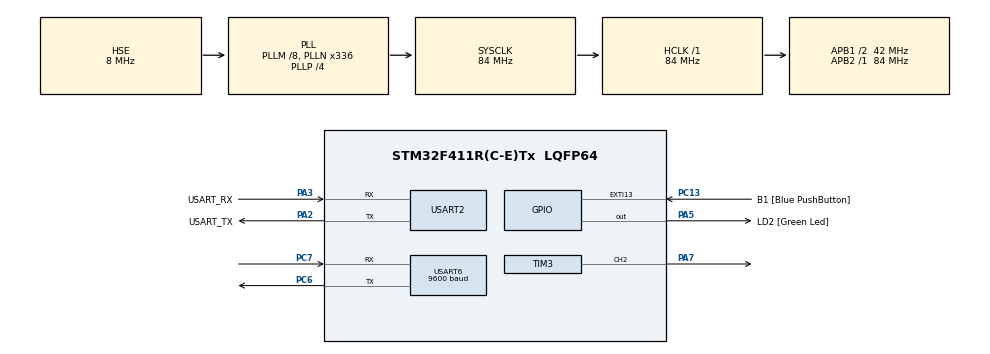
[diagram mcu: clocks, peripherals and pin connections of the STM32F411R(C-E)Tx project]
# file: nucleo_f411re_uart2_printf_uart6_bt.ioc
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Mcu.Family=STM32F4
Mcu.Name=STM32F411R(C-E)Tx
Mcu.Package=LQFP64
NVIC.PriorityGroup=NVIC_PRIORITYGROUP_0
NVIC.TIM3_IRQn=true\:0\:0\:false\:false\:true\:true\:true\:true
NVIC.USART2_IRQn=true\:0\:0\:false\:false\:true\:true\:true\:true
NVIC.USART6_IRQn=true\:0\:0\:false\:false\:true\:true\:true\:true
PA13.GPIO_Label=TMS
PA13.Mode=Serial_Wire
PA13.Signal=SYS_JTMS-SWDIO
PA14.GPIO_Label=TCK
PA14.Mode=Serial_Wire
PA14.Signal=SYS_JTCK-SWCLK
PA2.GPIO_Label=USART_TX
PA2.Mode=Asynchronous
PA2.Signal=USART2_TX
PA3.GPIO_Label=USART_RX
PA3.Mode=Asynchronous
PA3.Signal=USART2_RX
PA5.GPIO_Label=LD2 [Green Led]
PA5.Signal=GPIO_Output
PA7.Signal=S_TIM3_CH2
PB3.GPIO_Label=SWO
PB3.Signal=SYS_JTDO-SWO
PC13-ANTI_TAMP.GPIO_Label=B1 [Blue PushButton]
PC13-ANTI_TAMP.GPIO_ModeDefaultEXTI=GPIO_MODE_IT_FALLING
PC13-ANTI_TAMP.Signal=GPXTI13
PC14-OSC32_IN.Mode=LSE-External-Oscillator
PC14-OSC32_IN.Signal=RCC_OSC32_IN
PC15-OSC32_OUT.Mode=LSE-External-Oscillator
PC15-OSC32_OUT.Signal=RCC_OSC32_OUT
PC6.Mode=Asynchronous
PC6.Signal=USART6_TX
PC7.Mode=Asynchronous
PC7.Signal=USART6_RX
PH0\ -\ OSC_IN.Mode=HSE-External-Clock-Source
PH0\ -\ OSC_IN.Signal=RCC_OSC_IN
PH1\ -\ OSC_OUT.Mode=HSE-External-Clock-Source
PH1\ -\ OSC_OUT.Signal=RCC_OSC_OUT
ProjectManager.HeapSize=0x200
ProjectManager.StackSize=0x400
ProjectManager.TargetToolchain=STM32CubeIDE
RCC.48MHZClocksFreq_Value=84000000
RCC.AHBFreq_Value=84000000
RCC.APB1CLKDivider=RCC_HCLK_DIV2
RCC.APB1Freq_Value=42000000
RCC.APB1TimFreq_Value=84000000
RCC.APB2Freq_Value=84000000
RCC.APB2TimFreq_Value=84000000
RCC.CortexFreq_Value=84000000
RCC.FLatency-AdvancedSettings=FLASH_LATENCY_2
RCC.HCLKFreq_Value=84000000
RCC.HSE_VALUE=8000000
RCC.HSI_VALUE=16000000
RCC.PLLM=8
RCC.PLLN=336
RCC.PLLP=RCC_PLLP_DIV4
RCC.PLLSourceVirtual=RCC_PLLSOURCE_HSE
RCC.SYSCLKFreq_VALUE=84000000
RCC.SYSCLKSource=RCC_SYSCLKSOURCE_PLLCLK
RCC.VCOOutputFreq_Value=336000000
SH.S_TIM3_CH2.0=TIM3_CH2,PWM Generation2 CH2
TIM3.AutoReloadPreload=TIM_AUTORELOAD_PRELOAD_ENABLE
TIM3.Channel-PWM\ Generation2\ CH2=TIM_CHANNEL_2
TIM3.Period=1000-1
TIM3.Prescaler=84-1
TIM3.Pulse-PWM\ Generation2\ CH2=800-1
USART2.VirtualMode=VM_ASYNC
USART6.BaudRate=9600
USART6.VirtualMode=VM_ASYNC
VP_TIM3_VS_ClockSourceINT.Mode=Internal
board=NUCLEO-F411RE

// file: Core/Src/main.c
/* USER CODE BEGIN Header */
/**
  ******************************************************************************
  * @file           : main.c
  * @brief          : Main program body
  ******************************************************************************
  * @attention
  *
  * Copyright (c) 2024 STMicroelectronics.
  * All rights reserved.
  *
  * This software is licensed under terms that can be found in the LICENSE file
  * in the root directory of this software component.
  * If no LICENSE file comes with this software, it is provided AS-IS.
  *
  ******************************************************************************
  */
/* USER CODE END Header */
#include "main.h"

/* USER CODE BEGIN Includes */
#include <stdio.h>
#include <string.h>
#include <stdlib.h>
#include <errno.h>
/* USER CODE END Includes */

/* USER CODE BEGIN PD */
#ifdef __GNUC__
/* With GCC, small printf (option LD Linker->Libraries->Small printf
   set to 'Yes') calls __io_putchar() */
#define PUTCHAR_PROTOTYPE int __io_putchar(int ch)
#else
#define PUTCHAR_PROTOTYPE int fputc(int ch, FILE *f)
#endif /* __GNUC__ */
#define ARR_CNT 5
#define CMD_SIZE 50

/* USER CODE END PD */

TIM_HandleTypeDef htim3;

UART_HandleTypeDef huart2;
UART_HandleTypeDef huart6;

/* USER CODE BEGIN PV */
uint8_t rx2char;
volatile unsigned char rx2Flag = 0;
volatile char rx2Data[50];
volatile unsigned char btFlag = 0;
uint8_t btchar;
char btData[50];
void bluetooth_Event();

// temp, cdsValue
int temp = 0;     // ?��?��
int cdsValue = 0; // 조도

/* USER CODE END PV */

void SystemClock_Config(void);
static void MX_GPIO_Init(void);
static void MX_USART2_UART_Init(void);
static void MX_USART6_UART_Init(void);
static void MX_TIM3_Init(void);

int main(void)
{

  /* MCU Configuration--------------------------------------------------------*/

  /* Reset of all peripherals, Initializes the Flash interface and the Systick. */
  HAL_Init();

  /* Configure the system clock */
  SystemClock_Config();

  /* Initialize all configured peripherals */
  MX_GPIO_Init();
  MX_USART2_UART_Init();
  MX_USART6_UART_Init();
  MX_TIM3_Init();
  /* USER CODE BEGIN 2 */
  HAL_UART_Receive_IT(&huart2, &rx2char,1);
  HAL_UART_Receive_IT(&huart6, &btchar,1);

  HAL_TIM_PWM_Start(&htim3, TIM_CHANNEL_2);
//  printf("start main2()\r\n");
  __HAL_TIM_SET_COMPARE(&htim3, TIM_CHANNEL_2, 500);
  HAL_Delay(1000);
//  __HAL_TIM_SET_COMPARE(&htim3, TIM_CHANNEL_2, 50);
//  HAL_Delay(1000);

  // servo motor control
  //static uint8_t servoMoved = 0; // ?���?????????? 모터�?????????? ?�� 번만 ??직이?���?????????? ?��?�� �???????????��

  //  char buf[10] = "Hello\r";
  /* USER CODE END 2 */

  /* Infinite loop */
  /* USER CODE BEGIN WHILE */
  while (1)
  {
  	  if(rx2Flag)
  	  {
  			printf("recv2 : %s\r\n",rx2Data);
  			rx2Flag =0;
  	//	    HAL_UART_Transmit(&huart6, (uint8_t *)buf, strlen(buf), 0xFFFF);
  	  }
  	  if(btFlag)
  	  {
  //		printf("bt : %s\r\n",btData);
  			btFlag =0;
  			bluetooth_Event();
  	  }
  //	  HAL_GPIO_TogglePin(GPIOC, GPIO_PIN_13);
  //	  HAL_Delay(500);

  	  // ?��?��, 조도 �?????????? ?��?�� �?????????? ?���?????????? 모터 ?��?��
//  	  check_and_move_servo(temp, cdsValue);
  }
    /* USER CODE END WHILE */

}

void SystemClock_Config(void)
{
  RCC_OscInitTypeDef RCC_OscInitStruct = {0};
  RCC_ClkInitTypeDef RCC_ClkInitStruct = {0};

  /** Configure the main internal regulator output voltage
  */
  __HAL_RCC_PWR_CLK_ENABLE();
  __HAL_PWR_VOLTAGESCALING_CONFIG(PWR_REGULATOR_VOLTAGE_SCALE1);

  /** Initializes the RCC Oscillators according to the specified parameters
  * in the RCC_OscInitTypeDef structure.
  */
  RCC_OscInitStruct.OscillatorType = RCC_OSCILLATORTYPE_HSE;
  RCC_OscInitStruct.HSEState = RCC_HSE_BYPASS;
  RCC_OscInitStruct.PLL.PLLState = RCC_PLL_ON;
  RCC_OscInitStruct.PLL.PLLSource = RCC_PLLSOURCE_HSE;
  RCC_OscInitStruct.PLL.PLLM = 8;
  RCC_OscInitStruct.PLL.PLLN = 336;
  RCC_OscInitStruct.PLL.PLLP = RCC_PLLP_DIV4;
  RCC_OscInitStruct.PLL.PLLQ = 4;
  if (HAL_RCC_OscConfig(&RCC_OscInitStruct) != HAL_OK)
  {
    Error_Handler();
  }

  /** Initializes the CPU, AHB and APB buses clocks
  */
  RCC_ClkInitStruct.ClockType = RCC_CLOCKTYPE_HCLK|RCC_CLOCKTYPE_SYSCLK
                              |RCC_CLOCKTYPE_PCLK1|RCC_CLOCKTYPE_PCLK2;
  RCC_ClkInitStruct.SYSCLKSource = RCC_SYSCLKSOURCE_PLLCLK;
  RCC_ClkInitStruct.AHBCLKDivider = RCC_SYSCLK_DIV1;
  RCC_ClkInitStruct.APB1CLKDivider = RCC_HCLK_DIV2;
  RCC_ClkInitStruct.APB2CLKDivider = RCC_HCLK_DIV1;

  if (HAL_RCC_ClockConfig(&RCC_ClkInitStruct, FLASH_LATENCY_2) != HAL_OK)
  {
    Error_Handler();
  }
}

static void MX_TIM3_Init(void)
{

  TIM_ClockConfigTypeDef sClockSourceConfig = {0};
  TIM_MasterConfigTypeDef sMasterConfig = {0};
  TIM_OC_InitTypeDef sConfigOC = {0};

  htim3.Instance = TIM3;
  htim3.Init.Prescaler = 84-1;
  htim3.Init.CounterMode = TIM_COUNTERMODE_UP;
  htim3.Init.Period = 1000-1;
  htim3.Init.ClockDivision = TIM_CLOCKDIVISION_DIV1;
  htim3.Init.AutoReloadPreload = TIM_AUTORELOAD_PRELOAD_ENABLE;
  if (HAL_TIM_Base_Init(&htim3) != HAL_OK)
  {
    Error_Handler();
  }
  sClockSourceConfig.ClockSource = TIM_CLOCKSOURCE_INTERNAL;
  if (HAL_TIM_ConfigClockSource(&htim3, &sClockSourceConfig) != HAL_OK)
  {
    Error_Handler();
  }
  if (HAL_TIM_PWM_Init(&htim3) != HAL_OK)
  {
    Error_Handler();
  }
  sMasterConfig.MasterOutputTrigger = TIM_TRGO_RESET;
  sMasterConfig.MasterSlaveMode = TIM_MASTERSLAVEMODE_DISABLE;
  if (HAL_TIMEx_MasterConfigSynchronization(&htim3, &sMasterConfig) != HAL_OK)
  {
    Error_Handler();
  }
  sConfigOC.OCMode = TIM_OCMODE_PWM1;
  sConfigOC.Pulse = 800-1;
  sConfigOC.OCPolarity = TIM_OCPOLARITY_HIGH;
  sConfigOC.OCFastMode = TIM_OCFAST_DISABLE;
  if (HAL_TIM_PWM_ConfigChannel(&htim3, &sConfigOC, TIM_CHANNEL_2) != HAL_OK)
  {
    Error_Handler();
  }
  HAL_TIM_MspPostInit(&htim3);

}

static void MX_USART2_UART_Init(void)
{

  huart2.Instance = USART2;
  huart2.Init.BaudRate = 115200;
  huart2.Init.WordLength = UART_WORDLENGTH_8B;
  huart2.Init.StopBits = UART_STOPBITS_1;
  huart2.Init.Parity = UART_PARITY_NONE;
  huart2.Init.Mode = UART_MODE_TX_RX;
  huart2.Init.HwFlowCtl = UART_HWCONTROL_NONE;
  huart2.Init.OverSampling = UART_OVERSAMPLING_16;
  if (HAL_UART_Init(&huart2) != HAL_OK)
  {
    Error_Handler();
  }

}

static void MX_USART6_UART_Init(void)
{

  huart6.Instance = USART6;
  huart6.Init.BaudRate = 9600;
  huart6.Init.WordLength = UART_WORDLENGTH_8B;
  huart6.Init.StopBits = UART_STOPBITS_1;
  huart6.Init.Parity = UART_PARITY_NONE;
  huart6.Init.Mode = UART_MODE_TX_RX;
  huart6.Init.HwFlowCtl = UART_HWCONTROL_NONE;
  huart6.Init.OverSampling = UART_OVERSAMPLING_16;
  if (HAL_UART_Init(&huart6) != HAL_OK)
  {
    Error_Handler();
  }

}

static void MX_GPIO_Init(void)
{
  GPIO_InitTypeDef GPIO_InitStruct = {0};

  /* GPIO Ports Clock Enable */
  __HAL_RCC_GPIOC_CLK_ENABLE();
  __HAL_RCC_GPIOH_CLK_ENABLE();
  __HAL_RCC_GPIOA_CLK_ENABLE();
  __HAL_RCC_GPIOB_CLK_ENABLE();

  /*Configure GPIO pin Output Level */
  HAL_GPIO_WritePin(LD2_GPIO_Port, LD2_Pin, GPIO_PIN_RESET);

  /*Configure GPIO pin : B1_Pin */
  GPIO_InitStruct.Pin = B1_Pin;
  GPIO_InitStruct.Mode = GPIO_MODE_IT_FALLING;
  GPIO_InitStruct.Pull = GPIO_NOPULL;
  HAL_GPIO_Init(B1_GPIO_Port, &GPIO_InitStruct);

  /*Configure GPIO pin : LD2_Pin */
  GPIO_InitStruct.Pin = LD2_Pin;
  GPIO_InitStruct.Mode = GPIO_MODE_OUTPUT_PP;
  GPIO_InitStruct.Pull = GPIO_NOPULL;
  GPIO_InitStruct.Speed = GPIO_SPEED_FREQ_LOW;
  HAL_GPIO_Init(LD2_GPIO_Port, &GPIO_InitStruct);

}

/* USER CODE BEGIN 4 */
void MX_GPIO_LED_ON(uint16_t pin)
{
	HAL_GPIO_WritePin(LD2_GPIO_Port, pin, GPIO_PIN_SET);
}
void MX_GPIO_LED_OFF(uint16_t pin)
{
	HAL_GPIO_WritePin(LD2_GPIO_Port, pin, GPIO_PIN_RESET);
}

void bluetooth_Event()
{
  int i=0;
  char * pToken;
  char * pArray[ARR_CNT]={0};
  char recvBuf[CMD_SIZE]={0};
  char sendBuf[CMD_SIZE]={0};
  strcpy(recvBuf,btData);

  printf("btData : %s\r\n",btData);

  pToken = strtok(recvBuf,"[@]");
  while(pToken != NULL)
  {
    pArray[i] = pToken;
    if(++i >= ARR_CNT)
      break;
    pToken = strtok(NULL,"[@]");
  }

//  printf("pArray[0] : %s\r\n",pArray[0]);
//  printf("pArray[1] : %s\r\n",pArray[1]);
//  printf("pArray[2] : %s\r\n",pArray[2]);

  if(!strcmp(pArray[1],"LED"))
  {
		if(!strcmp(pArray[2],"ON"))
		{
			MX_GPIO_LED_ON(LD2_Pin);
		}
		else if(!strcmp(pArray[2],"OFF"))
		{
			MX_GPIO_LED_OFF(LD2_Pin);
		}
  }
  else if(!strcmp(pArray[1],"SENSOR"))
  {
	  	cdsValue = atoi(pArray[2]);     // ?�� �?????????분�? 문자?��?�� 직접 ?��?��?���????????? ?��?��

//	    char str[2] = {pArray[3][0], pArray[3][1]};
	    temp =atoi(pArray[3]); // ?�� �?????????분도 문자?��?�� 직접 ?��?��?���????????? ?��?��

	 	check_and_move_servo(temp, cdsValue);
        return;
  }
  else if(!strncmp(pArray[1]," Already log",sizeof(" Already log")))
  {
      return;
  }
  else
      return;

  sprintf(sendBuf,"[%s]%s@%s\n",pArray[0],pArray[1],pArray[2]);
  HAL_UART_Transmit(&huart6, (uint8_t *)sendBuf, strlen(sendBuf), 0xFFFF);
}

void check_and_move_servo(int temp, int cdsValue)
{
	//static uint8_t servo_moved = 0;  // motor run?
	//printf("temp:%d cdsValue:%d\r\n", temp, cdsValue);
	if ((temp < 27) && (cdsValue > 90))
	{
		// Turn the servo motor

		//HAL_TIM_PWM_Start(&htim3, TIM_CHANNEL_2);
		__HAL_TIM_SET_COMPARE(&htim3, TIM_CHANNEL_2, 50);

		// waiting servo motor is rotating
		HAL_Delay(1000);  // 1sec wait

		// Turn out servo motor
		__HAL_TIM_SET_COMPARE(&htim3, TIM_CHANNEL_2, 0);

		//servo_moved = 1;
	}
}
/**
  * @brief  Retargets the C library printf function to the USART.
  * @param  None
  * @retval None
  */
PUTCHAR_PROTOTYPE
{
  /* Place your implementation of fputc here */
  /* e.g. write a character to the USART6 and Loop until the end of transmission */
  HAL_UART_Transmit(&huart2, (uint8_t *)&ch, 1, 0xFFFF);

  return ch;
}
void HAL_UART_RxCpltCallback(UART_HandleTypeDef *huart)
{
    if(huart->Instance == USART2)
    {
    	static int i=0;
    	rx2Data[i] = rx2char;
    	if((rx2Data[i] == '\r')||(btData[i] == '\n'))
    	{
    		rx2Data[i] = '\0';
    		rx2Flag = 1;
    		i = 0;
    	}
    	else
    	{
    		i++;
    	}
    	HAL_UART_Receive_IT(&huart2, &rx2char,1);
    }
    if(huart->Instance == USART6)
    {
    	static int i=0;
    	btData[i] = btchar;
    	if((btData[i] == '\n') || btData[i] == '\r')
    	{
    		btData[i] = '\0';
    		btFlag = 1;
    		i = 0;
    	}
    	else
    	{
    		i++;
    	}
    	HAL_UART_Receive_IT(&huart6, &btchar,1);
    }
}
/* USER CODE END 4 */

void Error_Handler(void)
{
  __disable_irq();
  while (1)
  {
  }
}
